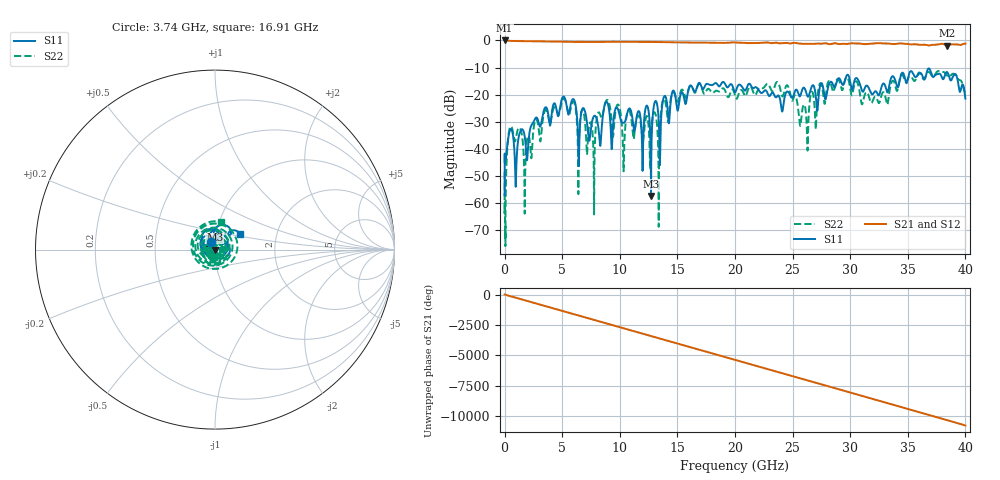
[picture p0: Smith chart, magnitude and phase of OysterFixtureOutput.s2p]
# MHz MA S R 50.0
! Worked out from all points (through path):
!   8000 points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, 5 MHz to 40 GHz, reference 50 ohm
!   highest |S21| = -0.01 dB at 5 MHz (marker M1); lowest = -1.9 dB at 38.42 GHz (marker M2)
!   group delay of S21, straight-line fit = 746 ps
!   lowest |S11| = -57.5 dB at 12.71 GHz (marker M3), VSWR 1.00, Z = 49.9 - j0.0494 ohm
!   |S11| at or under -10 dB: start of sweep to end of sweep
!   |S22| runs from -76.0 to -11.3 dB; largest |S21 - S12| = 0.0025
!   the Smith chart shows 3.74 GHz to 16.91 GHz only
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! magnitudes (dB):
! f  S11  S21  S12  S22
! 5 MHz  -57.1  0.0  0.0  -48.7
! 530 MHz  -32.7  -0.2  -0.2  -31.7
! 970 MHz  -54.0  -0.2  -0.2  -36.4
! 1.765 GHz  -35.9  -0.3  -0.3  -57.1
! 3.545 GHz  -24.7  -0.4  -0.4  -25.7
! 6.675 GHz  -26.4  -0.6  -0.6  -26.2
! 7.73 GHz  -28.1  -0.6  -0.6  -43.7
! 8.3 GHz  -38.9  -0.6  -0.6  -27.4
! 8.895 GHz  -22.8  -0.6  -0.6  -22.0
! 10.32 GHz  -30.4  -0.5  -0.5  -48.2
! 10.78 GHz  -25.3  -0.5  -0.5  -25.7
! 12.71 GHz  -57.5  -0.5  -0.5  -35.5
! 13.08 GHz  -22.4  -0.6  -0.6  -26.9
! 13.34 GHz  -27.0  -0.6  -0.6  -41.1
! 14.63 GHz  -18.5  -0.7  -0.7  -19.1
! 20 GHz  -19.2  -0.7  -0.7  -20.3
! 24.54 GHz  -18.9  -0.9  -0.9  -16.6
! 26.25 GHz  -20.2  -1.2  -1.2  -34.1
! 26.67 GHz  -16.9  -1.3  -1.3  -19.0
! 33.34 GHz  -17.9  -1.2  -1.2  -21.2
! 38.42 GHz  -11.7  -1.9  -1.9  -13.1
! 40 GHz  -21.5  -1.2  -1.2  -19.2
